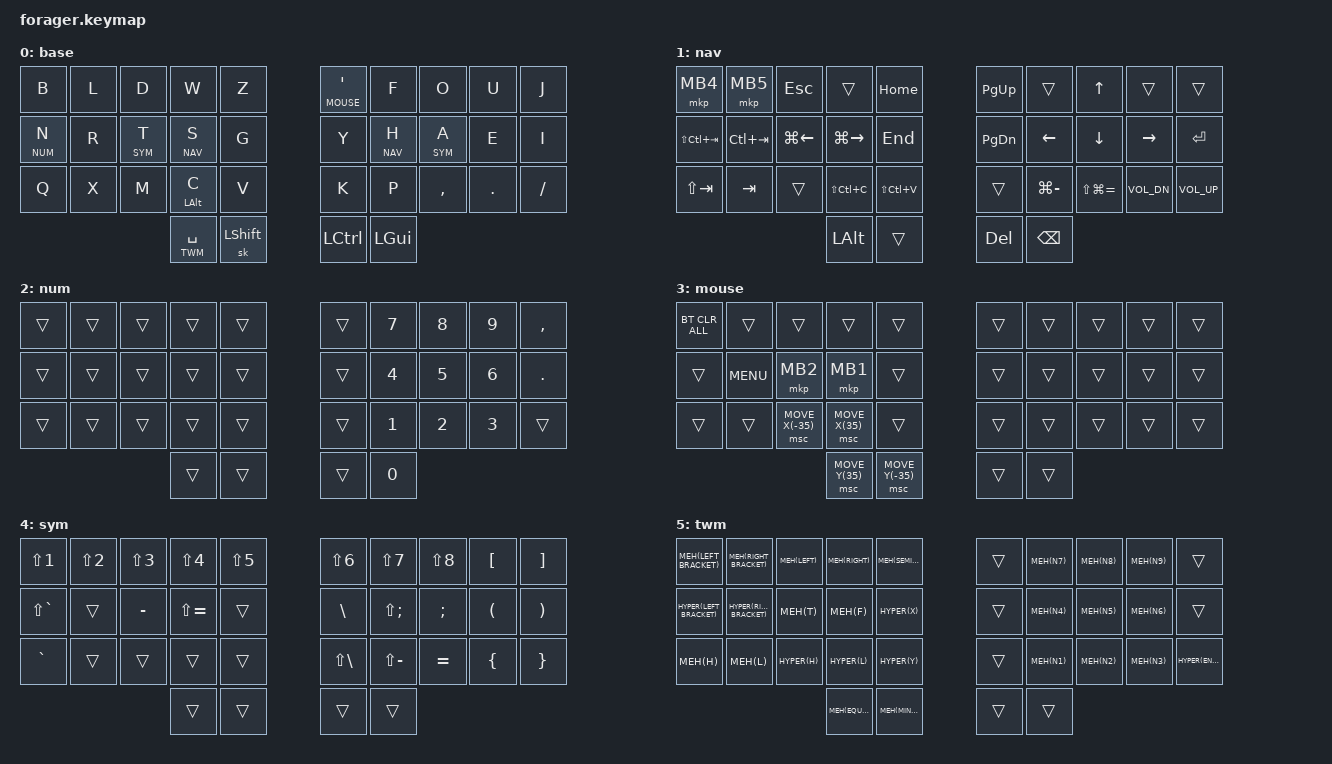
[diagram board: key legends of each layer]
#include <behaviors.dtsi>
#include <dt-bindings/zmk/keys.h>
#include <dt-bindings/zmk/bt.h>
#include <dt-bindings/zmk/outputs.h>
#include <dt-bindings/zmk/pointing.h>

#define BASE  0
#define NAV   1
#define NUM   2
#define MOUSE 3
#define SYM   4
#define TWM   5

#define MEH(keycode)   LS(LC(LA(keycode)))
#define HYPER(keycode) LS(LC(LA(LG(keycode))))

/ {
    behaviors {
        lhm: left_homerow_mods {
            compatible = "zmk,behavior-hold-tap";
            #binding-cells = <2>;
            flavor = "balanced";
            tapping-term-ms = <280>;
            quick-tap-ms = <175>;
            require-prior-idle-ms = <150>;
            bindings = <&kp>, <&kp>;
            hold-trigger-key-positions = <5 6 7 8 9 15 16 17 18 19 25 26 27 28 29 30 31 32 33>;
        };
        rhm: right_homerow_mods {
            compatible = "zmk,behavior-hold-tap";
            #binding-cells = <2>;
            flavor = "balanced";
            tapping-term-ms = <280>;
            quick-tap-ms = <175>;
            require-prior-idle-ms = <150>;
            bindings = <&kp>, <&kp>;
            hold-trigger-key-positions = <0 1 2 3 4 10 11 12 13 14 20 21 22 23 24 30 31 32 33>;
        };
        lt_hm: layer_tap_tap_preferred {
            compatible = "zmk,behavior-hold-tap";
            #binding-cells = <2>;
            flavor = "balanced";
            tapping-term-ms = <200>;
            quick-tap-ms = <200>;
            require-prior-idle-ms = <100>;
            bindings = <&mo>, <&kp>;
        };
        lt_spc: layer_tap_space {
            compatible = "zmk,behavior-hold-tap";
            #binding-cells = <2>;
            flavor = "tap-preferred";
            tapping-term-ms = <250>;
            quick-tap-ms = <200>;
            bindings = <&mo>, <&kp>;
        };
    };

    keymap {
        compatible = "zmk,keymap";

        base {
            bindings = <
            &kp B           &kp L    &kp D          &kp W               &kp Z        &lt_hm MOUSE SQT   &kp F           &kp O          &kp U     &kp J
            &lt_hm NUM N    &kp R    &lt_hm SYM T   &lt_hm NAV S        &kp G        &kp Y              &lt_hm NAV H    &lt_hm SYM A   &kp E     &kp I
            &kp Q           &kp X    &kp M          &mt LALT C          &kp V        &kp K              &kp P           &kp COMMA      &kp DOT   &kp FSLH
                                                    &lt_spc TWM SPACE   &sk LSHIFT   &kp LCTRL          &kp LGUI
            >;
        };

        nav {
            bindings = <
            &mkp MB4          &mkp MB5      &kp ESC        &trans          &kp HOME        &kp PAGE_UP     &trans          &kp UP              &trans          &trans
            &kp LS(LC(TAB))   &kp LC(TAB)   &kp LG(LEFT)   &kp LG(RIGHT)   &kp END         &kp PAGE_DOWN   &kp LEFT        &kp DOWN            &kp RIGHT       &kp ENTER
            &kp LS(TAB)       &kp TAB       &trans         &kp LS(LC(C))   &kp LS(LC(V))   &trans          &kp LG(MINUS)   &kp LS(LG(EQUAL))   &kp C_VOL_DN    &kp C_VOL_UP
                                                           &kp LALT        &trans          &kp DELETE      &kp BACKSPACE
            >;
        };

        num {
            bindings = <
            &trans   &trans   &trans   &trans   &trans   &trans   &kp N7   &kp N8   &kp N9   &kp COMMA
            &trans   &trans   &trans   &trans   &trans   &trans   &kp N4   &kp N5   &kp N6   &kp DOT
            &trans   &trans   &trans   &trans   &trans   &trans   &kp N1   &kp N2   &kp N3   &trans
                                       &trans   &trans   &trans   &kp N0
            >;
        };

        mouse {
            bindings = <
            &bt BT_CLR_ALL   &trans       &trans              &trans            &trans             &trans      &trans       &trans   &trans   &trans
            &trans           &kp K_MENU   &mkp MB2            &mkp MB1          &trans             &trans      &trans       &trans   &trans   &trans
            &trans           &trans       &msc MOVE_X(-35)    &msc MOVE_X(35)   &trans             &trans      &trans       &trans   &trans   &trans
                                                              &msc MOVE_Y(35)   &msc MOVE_Y(-35)   &trans      &trans
            >;
        };

        sym {
            bindings = <
            &kp LS(N1)      &kp LS(N2)   &kp LS(N3)   &kp LS(N4)      &kp LS(N5)   &kp LS(N6)          &kp LS(N7)          &kp LS(N8)      &kp LEFT_BRACKET       &kp RIGHT_BRACKET
            &kp LS(GRAVE)   &trans       &kp MINUS    &kp LS(EQUAL)   &trans       &kp BACKSLASH       &kp LS(SEMICOLON)   &kp SEMICOLON   &kp LEFT_PARENTHESIS   &kp RIGHT_PARENTHESIS
            &kp GRAVE       &trans       &trans       &trans          &trans       &kp LS(BACKSLASH)   &kp LS(MINUS)       &kp EQUAL       &kp LEFT_BRACE         &kp RIGHT_BRACE
                                                      &trans          &trans       &trans              &trans
            >;
        };

        twm {
            bindings = <
            &kp MEH(LEFT_BRACKET)     &kp MEH(RIGHT_BRACKET)     &kp MEH(LEFT)   &kp MEH(RIGHT)   &kp MEH(SEMICOLON)   &trans   &kp MEH(N7)   &kp MEH(N8)   &kp MEH(N9)   &trans
            &kp HYPER(LEFT_BRACKET)   &kp HYPER(RIGHT_BRACKET)   &kp MEH(T)      &kp MEH(F)       &kp HYPER(X)         &trans   &kp MEH(N4)   &kp MEH(N5)   &kp MEH(N6)   &trans
            &kp MEH(H)                &kp MEH(L)                 &kp HYPER(H)    &kp HYPER(L)     &kp HYPER(Y)         &trans   &kp MEH(N1)   &kp MEH(N2)   &kp MEH(N3)   &kp HYPER(ENTER)
                                                                                 &kp MEH(EQUAL)   &kp MEH(MINUS)       &trans   &trans
            >;
        };
    };
};
&msc {
    delay-ms = <0>;
    acceleration-exponent = <0>;
    time-to-max-speed-ms = <0>;
};

&lt {
    // require-prior-idle-ms = <100>;
    tapping-term-ms = <150>;
    quick-tap-ms = <200>;
};

&mt {
    require-prior-idle-ms = <150>;
    quick-tap-ms = <200>;
};

&sk {
    release-after-ms = <500>;
    quick-release;
};
